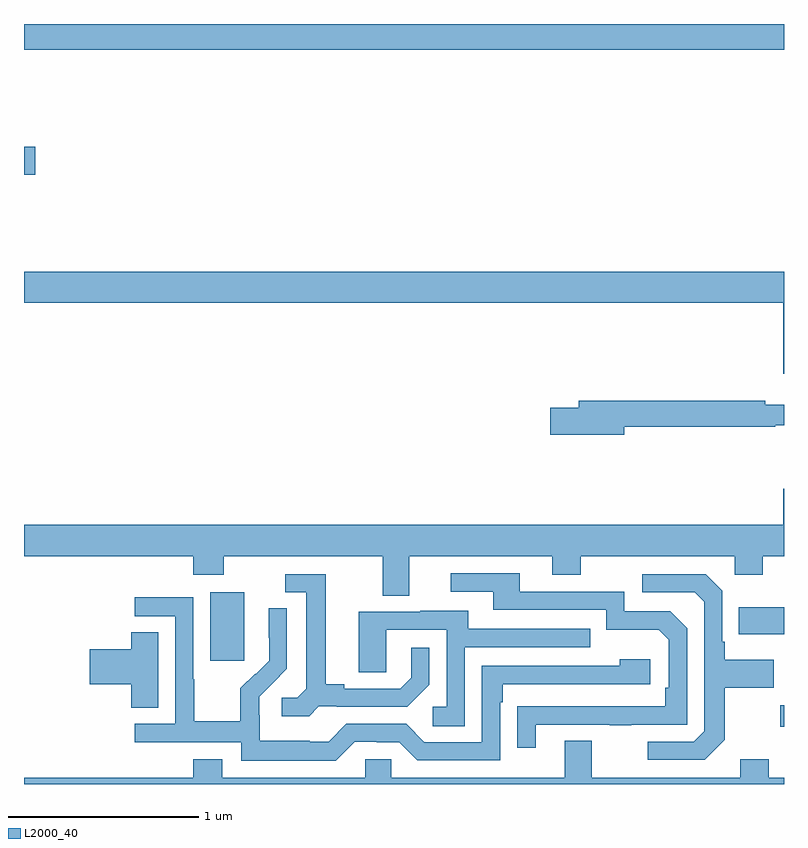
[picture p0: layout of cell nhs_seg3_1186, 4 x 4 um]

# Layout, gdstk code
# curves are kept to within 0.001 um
import gdstk
lib = gdstk.Library(unit=1e-6, precision=1e-09)
def R(c, l, rs):  # rectangles x0, y0, x1, y1
    for r in rs: c.add(gdstk.rectangle(r[:2], r[2:], *l))
def P(c, l, *ps):  # polygons
    for p in ps: c.add(gdstk.Polygon(p, *l))
L2000_40 = (2000, 40)

nhs_seg3_1186 = lib.new_cell('nhs_seg3_1186')
R(nhs_seg3_1186, L2000_40, [(176.979,682.701,177,682.814), (173.981,683.049,174.16,683.41), (176.761,683.189,177,683.329), (173,685.607,173.059,685.754), (173,686.264,177,686.4)])
P(nhs_seg3_1186, L2000_40, [(177,685.096),(173,685.096),(173,684.932),(176.996,684.932),(176.996,684.558),(177,684.558)],
  [(176.158,684.28),(176.954,684.28),(176.954,684.288),(177,684.288),(177,684.397),(176.9,684.397),(176.9,684.416),(175.919,684.416),(175.919,684.38),(175.77,684.38),(175.77,684.238),(176.158,684.238)],
  [(175.027,683.6),(175.781,683.6),(175.781,683.501),(175.929,683.501),(175.929,683.6),(176.742,683.6),(176.742,683.501),(176.889,683.501),(176.889,683.6),(177,683.6),(177,683.953),(176.996,683.953),(176.996,683.764),(173,683.764),(173,683.6),(173.891,683.6),(173.891,683.501),(174.051,683.501),(174.051,683.6),(174.887,683.6),(174.887,683.392),(175.027,683.392)],
  [(175.693,682.713),(176.083,682.713),(176.083,682.708),(176.195,682.708),(176.195,682.713),(176.49,682.713),(176.49,683.22),(176.4,683.31),(176.16,683.31),(176.16,683.412),(175.609,683.412),(175.609,683.508),(175.245,683.508),(175.245,683.412),(175.469,683.412),(175.469,683.316),(176.064,683.316),(176.064,683.213),(176.341,683.213),(176.394,683.16),(176.394,682.906),(176.374,682.906),(176.374,682.809),(175.597,682.808),(175.597,682.59),(175.693,682.59)],
  [(176.689,682.633),(176.689,682.906),(176.945,682.906),(176.945,683.053),(176.689,683.053),(176.689,683.149),(176.676,683.149),(176.676,683.418),(176.589,683.505),(176.253,683.505),(176.253,683.409),(176.529,683.409),(176.58,683.358),(176.58,682.677),(176.526,682.623),(176.283,682.623),(176.283,682.527),(176.583,682.527)],
  [(174.552,682.809),(174.646,682.809),(174.646,682.806),(175.018,682.806),(175.134,682.922),(175.134,683.116),(175.037,683.116),(175.037,682.959),(174.98,682.902),(174.685,682.902),(174.685,682.925),(174.589,682.925),(174.589,683.505),(174.375,683.505),(174.375,683.409),(174.485,683.409),(174.485,682.901),(174.438,682.854),(174.357,682.854),(174.357,682.757),(174.5,682.757)],
  [(174.741,682.623),(174.857,682.623),(174.857,682.62),(174.975,682.62),(175.071,682.524),(175.506,682.524),(175.506,682.829),(175.519,682.829),(175.519,682.926),(176.296,682.926),(176.296,683.056),(176.135,683.056),(176.135,683.022),(175.41,683.022),(175.41,682.62),(175.107,682.62),(175.011,682.716),(174.696,682.716),(174.603,682.623),(174.503,682.623),(174.503,682.627),(174.24,682.627),(174.24,682.761),(174.238,682.761),(174.238,682.858),(174.384,683.006),(174.384,683.324),(174.288,683.324),(174.288,683.17),(174.29,683.17),(174.29,683.048),(174.219,682.977),(174.216,682.98),(174.139,682.903),(174.139,682.729),(173.895,682.729),(173.895,682.952),(173.892,682.952),(173.892,683.382),(173.583,683.382),(173.583,683.283),(173.796,683.283),(173.796,682.716),(173.583,682.716),(173.583,682.62),(174.144,682.62),(174.144,682.523),(174.641,682.523)],
  [(175.32,683.121),(175.979,683.121),(175.979,683.217),(175.339,683.217),(175.339,683.311),(175.085,683.311),(175.085,683.307),(174.761,683.307),(174.761,682.987),(174.906,682.987),(174.906,683.211),(175.224,683.211),(175.224,682.806),(175.152,682.806),(175.152,682.705),(175.32,682.705)],
  [(173.707,683.198),(173.564,683.198),(173.564,683.108),(173.346,683.108),(173.346,682.925),(173.564,682.925),(173.564,682.801),(173.707,682.801)],
  [(177,682.432),(176.919,682.432),(176.919,682.531),(176.771,682.531),(176.771,682.432),(175.987,682.432),(175.987,682.627),(175.847,682.627),(175.847,682.432),(174.933,682.432),(174.933,682.53),(174.795,682.53),(174.795,682.432),(174.043,682.432),(174.043,682.531),(173.891,682.531),(173.891,682.432),(173,682.432),(173,682.4),(177,682.4)])

lib.write_gds('nhs_seg3_1186.gds')
